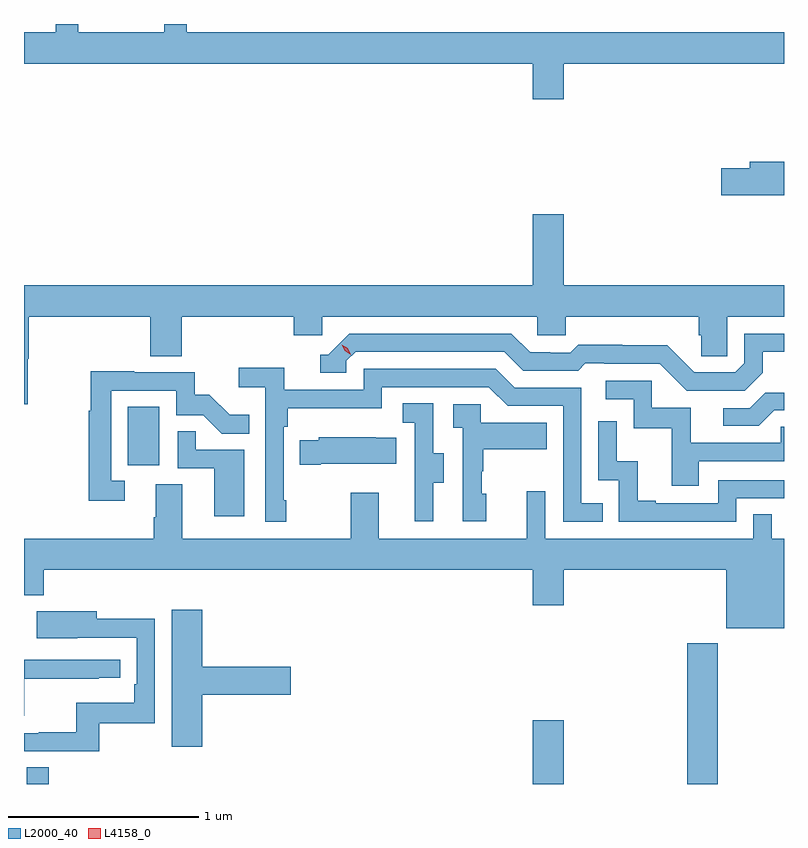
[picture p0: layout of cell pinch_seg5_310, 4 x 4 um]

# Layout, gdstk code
import gdstk
lib = gdstk.Library(unit=1e-6, precision=1e-09)
def R(c, l, rs):  # rectangles x0, y0, x1, y1
    for r in rs: c.add(gdstk.rectangle(r[:2], r[2:], *l))
def P(c, l, *ps):  # polygons
    for p in ps: c.add(gdstk.Polygon(p, *l))
L2000_40 = (2000, 40)
L4158_0 = (4158, 0)

pinch_seg5_310 = lib.new_cell('pinch_seg5_310')
R(pinch_seg5_310, L2000_40, [(905.601,882.272,905.717,882.359), (908.264,882.272,908.428,882.607), (909.077,882.272,909.237,883.012), (906.134,883.95,906.298,884.257)])
P(pinch_seg5_310, L2000_40, [(908.428,886.064),(909.587,886.064),(909.587,886.228),(906.443,886.228),(906.443,886.272),(906.326,886.272),(906.326,886.228),(905.873,886.228),(905.873,886.272),(905.755,886.272),(905.755,886.228),(905.587,886.228),(905.587,886.064),(908.264,886.064),(908.264,885.876),(908.428,885.876)],
  [(909.587,885.548),(909.407,885.548),(909.407,885.512),(909.258,885.512),(909.258,885.37),(909.587,885.37)],
  [(905.607,884.51),(905.612,884.51),(905.612,884.732),(906.251,884.732),(906.251,884.524),(906.416,884.524),(906.416,884.732),(907.007,884.732),(907.007,884.634),(907.158,884.634),(907.158,884.732),(908.289,884.732),(908.289,884.634),(908.439,884.634),(908.439,884.732),(909.137,884.732),(909.137,884.634),(909.151,884.634),(909.151,884.524),(909.288,884.524),(909.288,884.732),(909.587,884.732),(909.587,884.896),(908.428,884.896),(908.428,885.271),(908.264,885.271),(908.264,884.896),(905.587,884.896),(905.587,884.271),(905.607,884.271)],
  [(909.475,884.437),(909.475,884.547),(909.587,884.547),(909.587,884.643),(909.378,884.643),(909.378,884.487),(909.33,884.439),(909.114,884.439),(908.972,884.581),(908.736,884.581),(908.736,884.584),(908.503,884.584),(908.461,884.541),(908.358,884.541),(908.358,884.544),(908.251,884.544),(908.152,884.643),(907.299,884.643),(907.188,884.532),(907.145,884.532),(907.145,884.436),(907.284,884.436),(907.284,884.499),(907.332,884.547),(908.115,884.547),(908.214,884.448),(908.503,884.448),(908.542,884.487),(908.641,884.487),(908.641,884.484),(908.934,884.484),(909.075,884.343),(909.381,884.343)],
  [(906.967,883.765),(906.954,883.765),(906.954,884.153),(906.974,884.153),(906.974,884.249),(907.47,884.249),(907.47,884.361),(908.034,884.361),(908.133,884.262),(908.424,884.262),(908.424,883.653),(908.633,883.653),(908.633,883.749),(908.52,883.749),(908.52,884.358),(908.17,884.358),(908.071,884.457),(907.374,884.457),(907.374,884.346),(906.956,884.346),(906.956,884.462),(906.717,884.462),(906.717,884.36),(906.858,884.36),(906.858,883.653),(906.967,883.653)],
  [(906.118,883.869),(906.045,883.869),(906.045,884.343),(906.387,884.343),(906.387,884.214),(906.531,884.214),(906.629,884.116),(906.773,884.116),(906.773,884.215),(906.669,884.215),(906.562,884.322),(906.486,884.322),(906.486,884.439),(906.167,884.439),(906.167,884.444),(905.937,884.444),(905.937,884.236),(905.929,884.236),(905.929,883.764),(906.118,883.764)],
  [(909.139,883.971),(909.587,883.971),(909.587,884.151),(909.571,884.151),(909.571,884.067),(909.097,884.067),(909.097,884.253),(908.892,884.253),(908.892,884.394),(908.649,884.394),(908.649,884.298),(908.796,884.298),(908.796,884.145),(908.995,884.145),(908.995,883.842),(909.139,883.842)],
  [(909.535,884.238),(909.587,884.238),(909.587,884.33),(909.488,884.33),(909.408,884.25),(909.267,884.25),(909.267,884.157),(909.454,884.157)],
  [(907.741,883.858),(907.795,883.858),(907.795,884.013),(907.74,884.013),(907.74,884.276),(907.581,884.276),(907.581,884.173),(907.644,884.173),(907.644,883.869),(907.643,883.869),(907.643,883.656),(907.741,883.656)],
  [(908.02,883.8),(907.995,883.8),(907.995,883.919),(908.005,883.919),(908.005,884.033),(908.339,884.033),(908.339,884.173),(907.992,884.173),(907.992,884.271),(907.845,884.271),(907.845,884.147),(907.896,884.147),(907.896,883.656),(908.02,883.656)],
  [(909.336,883.776),(909.587,883.776),(909.587,883.872),(909.24,883.872),(909.24,883.749),(908.911,883.749),(908.911,883.762),(908.816,883.762),(908.816,883.97),(908.706,883.97),(908.706,884.182),(908.61,884.182),(908.61,883.872),(908.718,883.872),(908.718,883.653),(909.336,883.653)],
  [(906.745,884.031),(906.491,884.031),(906.491,884.129),(906.396,884.129),(906.396,883.935),(906.587,883.935),(906.587,883.68),(906.745,883.68)],
  [(907.15,883.958),(907.547,883.958),(907.547,884.095),(907.439,884.095),(907.439,884.098),(907.137,884.098),(907.137,884.08),(907.039,884.08),(907.039,883.951),(907.15,883.951)],
  [(908.264,883.212),(908.428,883.212),(908.428,883.4),(909.284,883.4),(909.284,883.091),(909.587,883.091),(909.587,883.564),(909.522,883.564),(909.522,883.691),(909.426,883.691),(909.426,883.564),(908.331,883.564),(908.331,883.813),(908.234,883.813),(908.234,883.564),(907.453,883.564),(907.453,883.804),(907.306,883.804),(907.306,883.564),(906.421,883.564),(906.421,883.85),(906.281,883.85),(906.281,883.676),(906.269,883.676),(906.269,883.564),(905.587,883.564),(905.587,883.265),(905.69,883.265),(905.69,883.4),(908.264,883.4)],
  [(906.526,882.743),(906.991,882.743),(906.991,882.89),(906.526,882.89),(906.526,883.189),(906.365,883.189),(906.365,882.468),(906.526,882.468)],
  [(905.983,882.591),(906.276,882.591),(906.276,883.142),(905.971,883.142),(905.971,883.18),(905.653,883.18),(905.653,883.04),(905.867,883.04),(905.867,883.041),(906.18,883.041),(906.18,882.796),(906.167,882.796),(906.167,882.7),(905.862,882.7),(905.862,882.545),(905.665,882.545),(905.665,882.54),(905.587,882.54),(905.587,882.444),(905.983,882.444)],
  [(905.588,882.826),(905.981,882.826),(905.981,882.831),(906.094,882.831),(906.094,882.927),(905.587,882.927),(905.587,882.63),(905.588,882.63)])
P(pinch_seg5_310, L4158_0, [(907.307,884.532),(907.276,884.551),(907.26,884.584),(907.26,884.584),(907.26,884.584),(907.291,884.565),(907.307,884.533),(907.307,884.532)])

lib.write_gds('pinch_seg5_310.gds')
